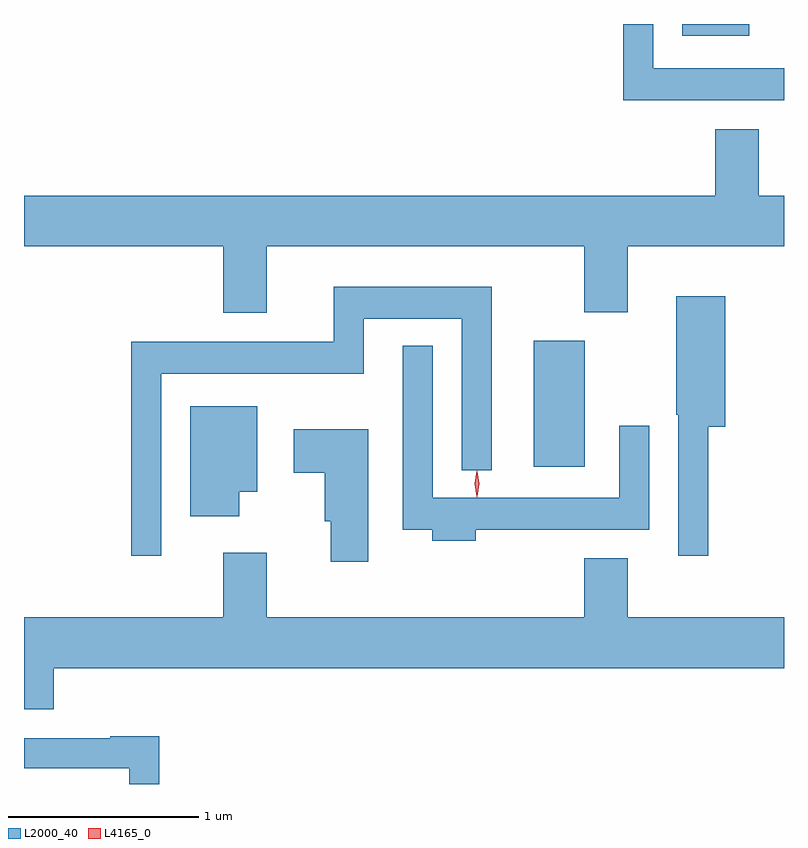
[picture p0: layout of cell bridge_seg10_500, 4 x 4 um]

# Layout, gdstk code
import gdstk
lib = gdstk.Library(unit=1e-6, precision=1e-09)
def R(c, l, rs):  # rectangles x0, y0, x1, y1
    for r in rs: c.add(gdstk.rectangle(r[:2], r[2:], *l))
def P(c, l, *ps):  # polygons
    for p in ps: c.add(gdstk.Polygon(p, *l))
L2000_40 = (2000, 40)
L4165_0 = (4165, 0)

bridge_seg10_500 = lib.new_cell('bridge_seg10_500')
R(bridge_seg10_500, L2000_40, [(909.376,2174.916,909.644,2175.579), (910.156,2177.186,910.509,2177.247)])
P(bridge_seg10_500, L2000_40, [(910.692,2177.014),(910.004,2177.014),(910.004,2177.247),(909.846,2177.247),(909.846,2176.846),(910.692,2176.846)],
  [(907.969,2176.076),(909.641,2176.076),(909.641,2175.731),(909.869,2175.731),(909.869,2176.076),(910.692,2176.076),(910.692,2176.344),(910.559,2176.344),(910.559,2176.694),(910.331,2176.694),(910.331,2176.344),(906.692,2176.344),(906.692,2176.076),(907.741,2176.076),(907.741,2175.726),(907.969,2175.726)],
  [(907.414,2175.406),(908.479,2175.406),(908.479,2175.696),(908.996,2175.696),(908.996,2174.898),(909.154,2174.898),(909.154,2175.864),(908.321,2175.864),(908.321,2175.574),(907.256,2175.574),(907.256,2174.448),(907.414,2174.448)],
  [(910.294,2175.126),(910.384,2175.126),(910.384,2175.814),(910.126,2175.814),(910.126,2175.19),(910.136,2175.19),(910.136,2174.448),(910.294,2174.448)],
  [(909.069,2174.586),(909.984,2174.586),(909.984,2175.133),(909.826,2175.133),(909.826,2174.754),(908.844,2174.754),(908.844,2175.553),(908.686,2175.553),(908.686,2174.586),(908.841,2174.586),(908.841,2174.526),(909.069,2174.526)],
  [(907.824,2174.786),(907.919,2174.786),(907.919,2175.234),(907.566,2175.234),(907.566,2174.656),(907.824,2174.656)],
  [(908.504,2175.114),(908.111,2175.114),(908.111,2174.886),(908.276,2174.886),(908.276,2174.631),(908.306,2174.631),(908.306,2174.416),(908.504,2174.416)],
  [(906.849,2173.856),(910.692,2173.856),(910.692,2174.124),(909.869,2174.124),(909.869,2174.434),(909.641,2174.434),(909.641,2174.124),(907.969,2174.124),(907.969,2174.464),(907.741,2174.464),(907.741,2174.124),(906.692,2174.124),(906.692,2173.641),(906.849,2173.641)],
  [(907.404,2173.499),(907.145,2173.499),(907.145,2173.489),(906.692,2173.489),(906.692,2173.331),(907.246,2173.331),(907.246,2173.247),(907.404,2173.247)])
P(bridge_seg10_500, L4165_0, [(909.075,2174.757),(909.074,2174.758),(909.065,2174.827),(909.074,2174.896),(909.075,2174.896),(909.075,2174.896),(909.085,2174.827),(909.075,2174.758)],
  [(909.077,2174.76),(909.068,2174.826),(909.077,2174.892),(909.078,2174.893),(909.078,2174.892),(909.088,2174.826),(909.078,2174.76),(909.078,2174.76)])

lib.write_gds('bridge_seg10_500.gds')
